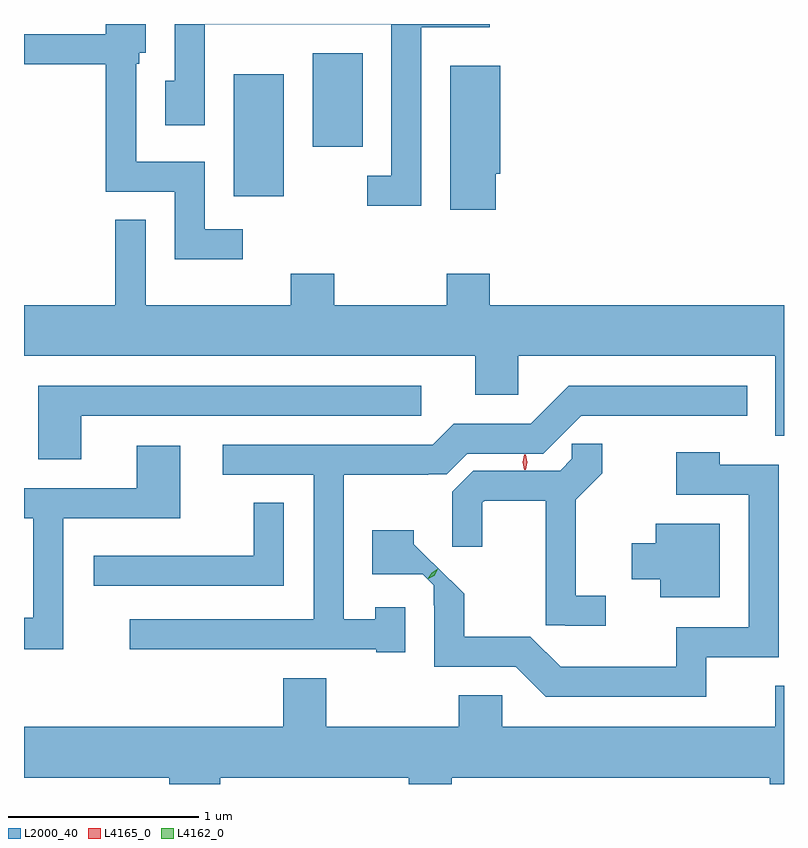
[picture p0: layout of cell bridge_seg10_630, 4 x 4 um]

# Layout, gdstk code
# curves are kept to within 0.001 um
import gdstk
lib = gdstk.Library(unit=1e-6, precision=1e-09)
def R(c, l, rs):  # rectangles x0, y0, x1, y1
    for r in rs: c.add(gdstk.rectangle(r[:2], r[2:], *l))
def P(c, l, *ps):  # polygons
    for p in ps: c.add(gdstk.Polygon(p, *l))
L2000_40 = (2000, 40)
L4162_0 = (4162, 0)
L4165_0 = (4165, 0)

bridge_seg10_630 = lib.new_cell('bridge_seg10_630')
R(bridge_seg10_630, L2000_40, [(849.041,2145.836,849.304,2146.479), (849.456,2146.096,849.719,2146.589)])
P(bridge_seg10_630, L2000_40, [(850.029,2146.726),(850.389,2146.726),(850.389,2146.743),(848.731,2146.743),(848.731,2146.444),(848.681,2146.444),(848.681,2146.211),(848.889,2146.211),(848.889,2146.741),(849.871,2146.741),(849.871,2145.944),(849.743,2145.944),(849.743,2145.786),(850.029,2145.786)],
  [(849.088,2145.664),(848.889,2145.664),(848.889,2146.019),(848.529,2146.019),(848.529,2146.535),(848.544,2146.535),(848.544,2146.591),(848.579,2146.591),(848.579,2146.743),(848.366,2146.743),(848.366,2146.689),(847.937,2146.689),(847.937,2146.531),(848.366,2146.531),(848.366,2145.861),(848.731,2145.861),(848.731,2145.506),(849.088,2145.506)],
  [(850.419,2145.956),(850.444,2145.956),(850.444,2146.524),(850.181,2146.524),(850.181,2145.766),(850.419,2145.766)],
  [(851.937,2145.264),(850.389,2145.264),(850.389,2145.429),(850.161,2145.429),(850.161,2145.264),(849.569,2145.264),(849.569,2145.429),(849.341,2145.429),(849.341,2145.264),(848.579,2145.264),(848.579,2145.713),(848.416,2145.713),(848.416,2145.264),(847.937,2145.264),(847.937,2144.996),(850.311,2144.996),(850.311,2144.791),(850.539,2144.791),(850.539,2144.996),(851.891,2144.996),(851.891,2144.576),(851.937,2144.576)],
  [(849.944,2143.673),(849.786,2143.673),(849.786,2143.609),(849.619,2143.609),(849.619,2144.371),(850.162,2144.372),(850.271,2144.481),(850.669,2144.481),(850.869,2144.681),(851.743,2144.681),(851.743,2144.839),(850.804,2144.839),(850.604,2144.639),(850.199,2144.639),(850.089,2144.529),(848.983,2144.529),(848.983,2144.371),(849.461,2144.371),(849.461,2143.609),(848.493,2143.609),(848.493,2143.451),(849.79,2143.451),(849.79,2143.436),(849.944,2143.436)],
  [(848.239,2144.681),(850.028,2144.681),(850.028,2144.839),(848.011,2144.839),(848.011,2144.451),(848.239,2144.451)],
  [(850.999,2143.733),(850.84,2143.733),(850.84,2144.238),(850.98,2144.378),(850.98,2144.534),(850.821,2144.534),(850.821,2144.455),(850.76,2144.393),(850.302,2144.392),(850.192,2144.282),(850.192,2143.992),(850.35,2143.992),(850.35,2144.223),(850.363,2144.235),(850.682,2144.235),(850.682,2143.579),(850.786,2143.579),(850.786,2143.575),(850.999,2143.575)],
  [(848.144,2144.141),(848.759,2144.141),(848.759,2144.524),(848.531,2144.524),(848.531,2144.299),(847.937,2144.299),(847.937,2144.141),(847.986,2144.141),(847.986,2143.619),(847.937,2143.619),(847.937,2143.451),(848.144,2143.451)],
  [(851.529,2143.411),(851.909,2143.411),(851.909,2144.424),(851.599,2144.424),(851.599,2144.489),(851.371,2144.489),(851.371,2144.266),(851.751,2144.266),(851.751,2143.569),(851.371,2143.569),(851.371,2143.359),(850.762,2143.359),(850.602,2143.519),(850.254,2143.519),(850.254,2143.745),(850.184,2143.815),(850.182,2143.813),(849.989,2144.006),(849.989,2144.079),(849.771,2144.079),(849.771,2143.848),(850.036,2143.848),(850.094,2143.789),(850.094,2143.683),(850.096,2143.683),(850.096,2143.361),(850.524,2143.361),(850.684,2143.201),(851.529,2143.201)],
  [(849.304,2144.223),(849.146,2144.223),(849.146,2143.944),(848.303,2143.944),(848.303,2143.786),(849.304,2143.786)],
  [(851.599,2144.114),(851.261,2144.114),(851.261,2144.009),(851.136,2144.009),(851.136,2143.821),(851.286,2143.821),(851.286,2143.726),(851.599,2143.726)],
  [(848.969,2142.776),(849.961,2142.776),(849.961,2142.743),(850.189,2142.743),(850.189,2142.776),(851.861,2142.776),(851.861,2142.743),(851.937,2142.743),(851.937,2143.259),(851.891,2143.259),(851.891,2143.044),(850.454,2143.044),(850.454,2143.209),(850.226,2143.209),(850.226,2143.044),(849.529,2143.044),(849.529,2143.299),(849.301,2143.299),(849.301,2143.044),(847.937,2143.044),(847.937,2142.776),(848.701,2142.776),(848.701,2142.743),(848.969,2142.743)])
P(bridge_seg10_630, L4162_0, [(850.063,2143.822),(850.063,2143.823),(850.082,2143.856),(850.114,2143.875),(850.115,2143.875),(850.115,2143.874),(850.096,2143.841),(850.064,2143.822)],
  [(850.07,2143.826),(850.07,2143.826),(850.083,2143.854),(850.11,2143.869),(850.111,2143.869),(850.111,2143.868),(850.097,2143.84),(850.07,2143.826)])
P(bridge_seg10_630, L4165_0, [(850.571,2144.396),(850.571,2144.396),(850.561,2144.436),(850.571,2144.477),(850.571,2144.477),(850.572,2144.477),(850.581,2144.436),(850.572,2144.396)],
  [(850.576,2144.398),(850.576,2144.398),(850.566,2144.436),(850.576,2144.475),(850.576,2144.475),(850.577,2144.475),(850.586,2144.436),(850.577,2144.398)])

lib.write_gds('bridge_seg10_630.gds')
